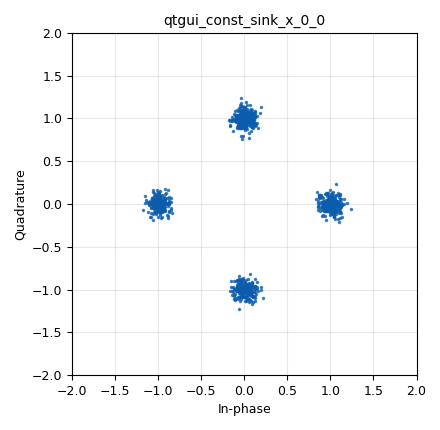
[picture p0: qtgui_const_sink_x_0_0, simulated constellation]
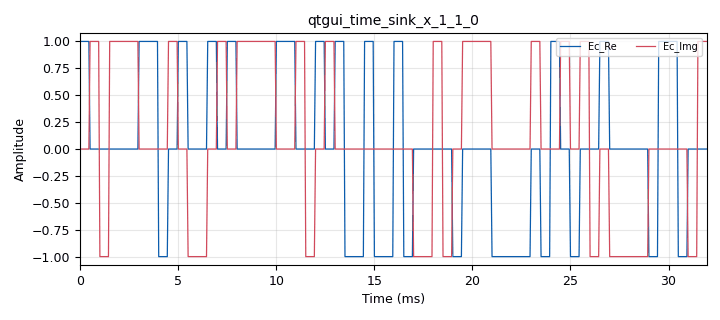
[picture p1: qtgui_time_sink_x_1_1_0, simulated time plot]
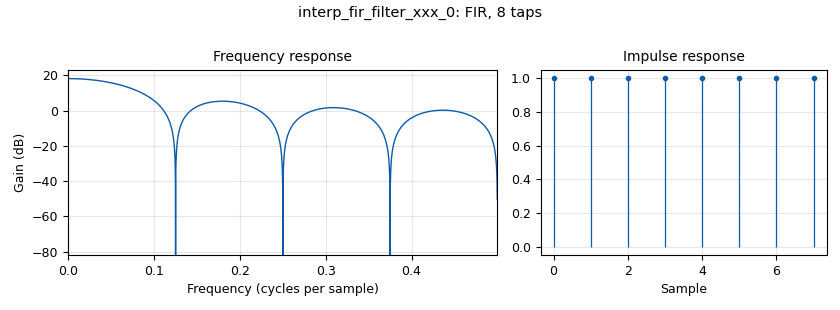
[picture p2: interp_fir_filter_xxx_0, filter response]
options:
  parameters:
    author: com2_B1_G5
    generate_options: qt_gui
    id: Video1
    output_language: python
    title: Not titled yet
  states: {}

blocks:
- name: M
  id: variable
  parameters:
    value: '4'
  states: {}
- name: Nbps
  id: variable
  parameters:
    value: int(math.log(M,2))
  states: {}
- name: Rb
  id: variable
  parameters:
    value: '32000'
  states: {}
- name: Rs
  id: variable
  parameters:
    value: Rb/Nbps
  states: {}
- name: Sample_rate
  id: variable
  parameters:
    value: Rb*M
  states: {}
- name: Sps
  id: variable
  parameters:
    value: len(h)
  states: {}
- name: constelacion
  id: variable
  parameters:
    value: (1+0j, 0+1j, -1+0j, 0-1j)
  states: {}
- name: h
  id: variable
  parameters:
    value: (1.,1.,1.,1.,1.,1.,1.,1.)
  states: {}
- name: samp_rate
  id: variable
  parameters:
    value: Rs*Sps
  states: {}
- name: analog_noise_source_x_0
  id: analog_noise_source_x
  parameters:
    amp: '0.1'
    noise_type: analog.GR_GAUSSIAN
    seed: '0'
    type: complex
  states: {}
- name: analog_random_source_x_0
  id: analog_random_source_x
  parameters:
    max: '2'
    min: '0'
    num_samps: '1000'
    repeat: 'True'
    type: byte
  states: {}
- name: blocks_add_xx_0
  id: blocks_add_xx
  parameters:
    type: complex
  states: {}
- name: blocks_char_to_float_0
  id: blocks_char_to_float
  parameters:
    scale: '1'
  states: {state: disabled}
- name: blocks_char_to_float_0_0
  id: blocks_char_to_float
  parameters:
    scale: '1'
  states: {state: disabled}
- name: blocks_null_sink_0
  id: blocks_null_sink
  parameters:
    type: complex
  states: {state: disabled}
- name: blocks_repack_bits_bb_0
  id: blocks_repack_bits_bb
  parameters:
    endianness: gr.GR_LSB_FIRST
    k: '1'
    l: Nbps
  states: {}
- name: blocks_throttle2_0
  id: blocks_throttle2
  parameters:
    samples_per_second: samp_rate
    type: complex
  states: {}
- name: digital_chunks_to_symbols_xx_0
  id: digital_chunks_to_symbols_xx
  parameters:
    dimension: '1'
    in_type: byte
    out_type: complex
    symbol_table: constelacion
  states: {}
- name: import_0
  id: import
  parameters:
    imports: import math
  states: {}
- name: interp_fir_filter_xxx_0
  id: interp_fir_filter_xxx
  parameters:
    interp: '8'
    taps: h
    type: ccc
  states: {}
- name: qtgui_const_sink_x_0
  id: qtgui_const_sink_x
  parameters:
    size: '1024'
    type: complex
    width1: '3'
  states: {state: disabled}
- name: qtgui_const_sink_x_0_0
  id: qtgui_const_sink_x
  parameters:
    size: '1024'
    type: complex
    width1: '3'
  states: {}
- name: qtgui_const_sink_x_0_0_0
  id: qtgui_const_sink_x
  parameters:
    size: '1024'
    type: complex
    width1: '3'
  states: {state: disabled}
- name: qtgui_freq_sink_x_0
  id: qtgui_freq_sink_x
  parameters:
    average: '0.05'
    bw: samp_rate
    fc: '0'
    fftsize: '1024'
    type: complex
  states: {state: disabled}
- name: qtgui_time_sink_x_0
  id: qtgui_time_sink_x
  parameters:
    marker1: '0'
    size: '32'
    srate: Rb
    stemplot: 'True'
    type: float
    width1: '3'
  states: {state: disabled}
- name: qtgui_time_sink_x_0_0
  id: qtgui_time_sink_x
  parameters:
    label1: Binario
    marker1: '0'
    size: int(32/Nbps)
    srate: Rs
    stemplot: 'True'
    type: float
    width1: '3'
  states: {state: disabled}
- name: qtgui_time_sink_x_0_0_0
  id: qtgui_time_sink_x
  parameters:
    label1: MPAM mod
    marker1: '0'
    size: int(32/Nbps)
    srate: Rs
    stemplot: 'True'
    type: float
    width1: '3'
  states: {state: disabled}
- name: qtgui_time_sink_x_1
  id: qtgui_time_sink_x
  parameters:
    label1: Ec_Re
    label2: Ec_Img
    marker1: '0'
    marker2: '0'
    size: int(32/Nbps)
    srate: Rs
    stemplot: 'True'
    type: complex
    width1: '3'
    width2: '3'
  states: {state: disabled}
- name: qtgui_time_sink_x_1_0
  id: qtgui_time_sink_x
  parameters:
    label1: Ec_Re
    label2: Ec_Img
    size: int((32*Sps)/Nbps)
    srate: samp_rate
    type: complex
    width1: '3'
    width2: '3'
  states: {state: disabled}
- name: qtgui_time_sink_x_1_1
  id: qtgui_time_sink_x
  parameters:
    label1: Ec_Re
    label2: Ec_Img
    size: '512'
    srate: Rs
    type: complex
    width1: '3'
    width2: '3'
  states: {state: disabled}
- name: qtgui_time_sink_x_1_1_0
  id: qtgui_time_sink_x
  parameters:
    label1: Ec_Re
    label2: Ec_Img
    size: '512'
    srate: Rs
    type: complex
    width1: '3'
    width2: '3'
  states: {}

connections:
- [analog_noise_source_x_0, '0', blocks_add_xx_0, '1']
- [analog_noise_source_x_0, '0', qtgui_const_sink_x_0_0_0, '0']
- [analog_noise_source_x_0, '0', qtgui_time_sink_x_1_1, '0']
- [analog_random_source_x_0, '0', blocks_char_to_float_0, '0']
- [analog_random_source_x_0, '0', blocks_repack_bits_bb_0, '0']
- [blocks_add_xx_0, '0', blocks_null_sink_0, '0']
- [blocks_add_xx_0, '0', qtgui_const_sink_x_0_0, '0']
- [blocks_char_to_float_0, '0', qtgui_time_sink_x_0, '0']
- [blocks_char_to_float_0_0, '0', qtgui_time_sink_x_0_0, '0']
- [blocks_repack_bits_bb_0, '0', blocks_char_to_float_0_0, '0']
- [blocks_repack_bits_bb_0, '0', digital_chunks_to_symbols_xx_0, '0']
- [blocks_throttle2_0, '0', blocks_add_xx_0, '0']
- [digital_chunks_to_symbols_xx_0, '0', interp_fir_filter_xxx_0, '0']
- [interp_fir_filter_xxx_0, '0', blocks_throttle2_0, '0']
- [interp_fir_filter_xxx_0, '0', qtgui_freq_sink_x_0, '0']
- [interp_fir_filter_xxx_0, '0', qtgui_time_sink_x_1_0, '0']
- [interp_fir_filter_xxx_0, '0', qtgui_time_sink_x_1_1_0, '0']

metadata:
  file_format: 1
  grc_version: 3.10.12.0
